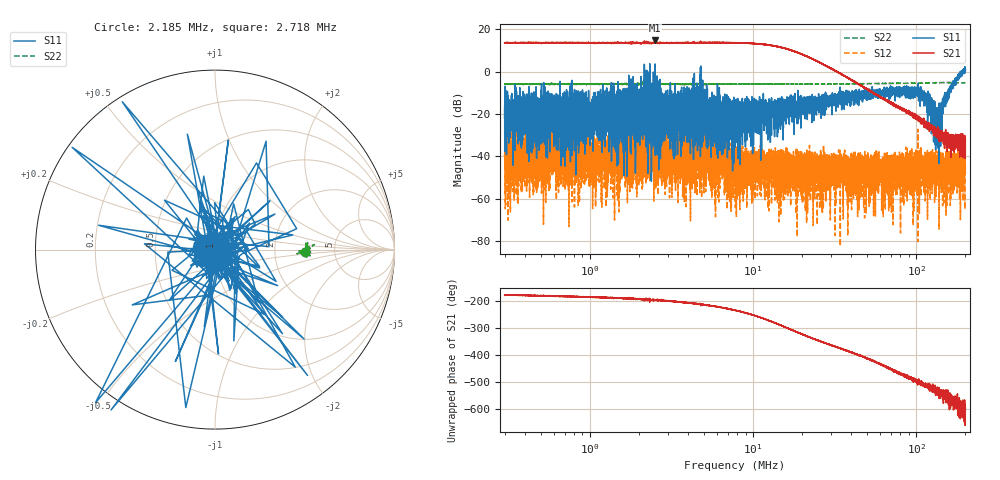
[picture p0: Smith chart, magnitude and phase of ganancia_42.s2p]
# Hz S DB R 50
! CMT, M5065, 19127446, 24.2.4/2
! Date: 11/1/2024 4:40:14 PM
! Data: Format (Calibration Info)
! Freq	S11:dB/Ang(F2)	S21:dB/Ang(F2)	S12:dB/Ang(F2)	S22:dB/Ang(F2)
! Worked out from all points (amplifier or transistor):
!   9000 points, 300 kHz to 200 MHz, reference 50 ohm
!   highest |S21| = 14.7 dB at 2.512 MHz (marker M1)
!   |S21| within 3 dB of that: start of sweep to 14.24 MHz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
!   unconditionally stable (mu >= 1): 2.513 MHz to 4.362 MHz; 4.785 MHz to 186.6 MHz; 187 MHz to 188.8 MHz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
!   at 886.8 kHz: K = 3.09, MAG = 14.9 dB, |S12| = -31.9 dB
!   at 7.749 MHz: K = 23.78, MAG = 14.9 dB, |S12| = -49.7 dB
!   at 200 MHz: K = -629.69, MSG = 6.3 dB, |S12| = -44.4 dB
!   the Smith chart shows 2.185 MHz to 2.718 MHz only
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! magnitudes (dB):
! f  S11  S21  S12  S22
! 300 kHz  -21.9  13.7  -39.2  -5.9
! 473 kHz  -21.7  13.6  -37.5  -6.0
! 593 kHz  -28.7  13.7  -29.9  -6.0
! 722.8 kHz  -22.1  13.6  -39.6  -5.9
! 886.8 kHz  -21.8  13.6  -31.9  -5.8
! 1.261 MHz  -8.6  13.3  -42.7  -5.9
! 1.633 MHz  -20.0  13.7  -26.8  -5.5
! 2.512 MHz  3.6  14.7  -51.5  -5.9
! 2.621 MHz  -18.3  13.7  -37.9  -5.9
! 4 MHz  -14.8  13.8  -36.0  -5.8
! 4.507 MHz  -19.7  13.7  -49.5  -5.9
! 5.618 MHz  -24.5  13.7  -43.1  -5.9
! 6.389 MHz  -20.8  13.6  -38.1  -5.9
! 7.749 MHz  -35.9  13.6  -49.7  -5.9
! 13.79 MHz  -15.8  12.0  -44.1  -5.9
! 22.91 MHz  -11.8  6.2  -42.2  -5.9
! 67.71 MHz  -9.2  -14.4  -46.8  -5.6
! 104.4 MHz  -10.8  -21.7  -50.1  -5.5
! 118 MHz  -9.2  -24.3  -54.2  -5.4
! 135 MHz  -19.2  -29.5  -37.9  -5.2
! 165.1 MHz  -7.4  -36.1  -41.1  -5.2
! 200 MHz  1.0  -31.9  -44.4  -5.3
